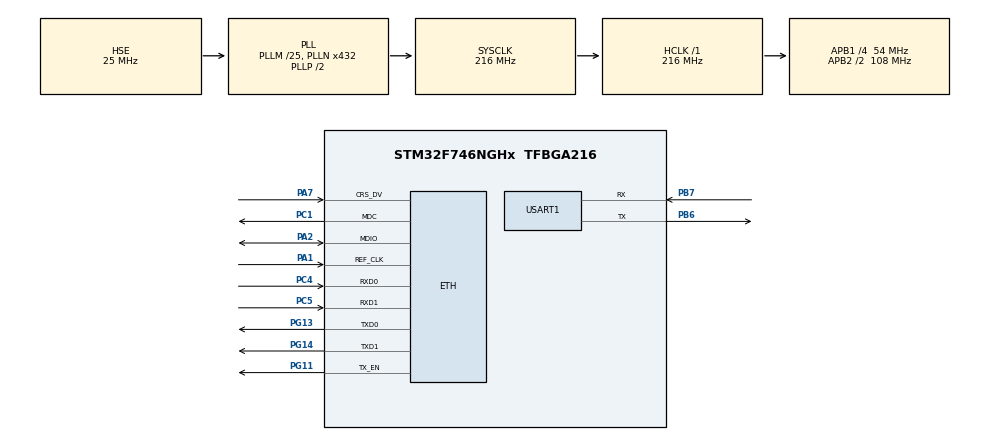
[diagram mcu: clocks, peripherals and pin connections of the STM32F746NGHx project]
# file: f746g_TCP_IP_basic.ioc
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CORTEX_M7.default_mode_Activation=1
ETH.MediaInterface=HAL_ETH_RMII_MODE
LWIP.BSP.number=1
LWIP.GATEWAY_ADDRESS=192.168.001.001
LWIP.IP_ADDRESS=192.168.001.100
LWIP.LWIP_DHCP=0
LWIP.NETMASK_ADDRESS=255.255.255.000
LWIP.TCP_LISTEN_BACKLOG=1
LWIP.TCP_MSS=1460
LWIP.TCP_WND=2920
LWIP.Version=v2.1.2_Cube
LWIP0.BSP.STBoard=false
LWIP0.BSP.api=BSP_COMPONENT_DRIVER
LWIP0.BSP.component=LAN8742
LWIP0.BSP.instance=LAN8742
LWIP0.BSP.name=Driver_PHY
LWIP0.BSP.semaphore=S_LAN8742
LWIP0.BSP.solution=LAN8742
Mcu.Family=STM32F7
Mcu.Name=STM32F746NGHx
Mcu.Package=TFBGA216
NVIC.PriorityGroup=NVIC_PRIORITYGROUP_4
PA0/WKUP.Mode=SYS_WakeUp0
PA0/WKUP.Signal=SYS_WKUP1
PA1.Mode=RMII
PA1.Signal=ETH_REF_CLK
PA13.Mode=Serial_Wire
PA13.Signal=SYS_JTMS-SWDIO
PA14.Mode=Serial_Wire
PA14.Signal=SYS_JTCK-SWCLK
PA2.Mode=RMII
PA2.Signal=ETH_MDIO
PA7.Mode=RMII
PA7.Signal=ETH_CRS_DV
PB6.Mode=Asynchronous
PB6.Signal=USART1_TX
PB7.Mode=Asynchronous
PB7.Signal=USART1_RX
PC1.Mode=RMII
PC1.Signal=ETH_MDC
PC4.Mode=RMII
PC4.Signal=ETH_RXD0
PC5.Mode=RMII
PC5.Signal=ETH_RXD1
PG11.Mode=RMII
PG11.Signal=ETH_TX_EN
PG13.Mode=RMII
PG13.Signal=ETH_TXD0
PG14.Mode=RMII
PG14.Signal=ETH_TXD1
PH0/OSC_IN.Mode=HSE-External-Oscillator
PH0/OSC_IN.Signal=RCC_OSC_IN
PH1/OSC_OUT.Mode=HSE-External-Oscillator
PH1/OSC_OUT.Signal=RCC_OSC_OUT
ProjectManager.HeapSize=0x200
ProjectManager.StackSize=0x400
ProjectManager.TargetToolchain=STM32CubeIDE
RCC.AHBFreq_Value=216000000
RCC.APB1CLKDivider=RCC_HCLK_DIV4
RCC.APB1Freq_Value=54000000
RCC.APB1TimFreq_Value=108000000
RCC.APB2CLKDivider=RCC_HCLK_DIV2
RCC.APB2Freq_Value=108000000
RCC.APB2TimFreq_Value=216000000
RCC.CortexFreq_Value=216000000
RCC.HCLKFreq_Value=216000000
RCC.HSE_VALUE=25000000
RCC.HSI_VALUE=16000000
RCC.LSE_VALUE=32768
RCC.PLLM=25
RCC.PLLN=432
RCC.PLLSourceVirtual=RCC_PLLSOURCE_HSE
RCC.SYSCLKFreq_VALUE=216000000
RCC.SYSCLKSource=RCC_SYSCLKSOURCE_PLLCLK
RCC.USBFreq_Value=216000000
RCC.VCOOutputFreq_Value=432000000
USART1.VirtualMode-Asynchronous=VM_ASYNC
VP_LWIP_VS_Enabled.Mode=Enabled
board=custom

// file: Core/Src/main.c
/* USER CODE BEGIN Header */
/**
  ******************************************************************************
  * @file           : main.c
  * @brief          : Main program body
  ******************************************************************************
  * @attention
  *
  * Copyright (c) 2025 STMicroelectronics.
  * All rights reserved.
  *
  * This software is licensed under terms that can be found in the LICENSE file
  * in the root directory of this software component.
  * If no LICENSE file comes with this software, it is provided AS-IS.
  *
  ******************************************************************************
  */
/* USER CODE END Header */
#include "main.h"
#include "lwip.h"
#include "usart.h"
#include "gpio.h"

/* USER CODE BEGIN Includes */
#include "app_ethernet.h"
#include "TCP_client.h"
#include "uart_debug.h"

/* USER CODE END Includes */

void SystemClock_Config(void);
static void MPU_Config(void);

int main(void){

  /* MPU Configuration--------------------------------------------------------*/
  MPU_Config();

  /* MCU Configuration--------------------------------------------------------*/

  /* Reset of all peripherals, Initializes the Flash interface and the Systick. */
  HAL_Init();

  /* Configure the system clock */
  SystemClock_Config();

  /* Initialize all configured peripherals */
  MX_GPIO_Init();
  MX_USART1_UART_Init();
  MX_LWIP_Init();
  /* USER CODE BEGIN 2 */
  uart_debug_init();      // Initialize debug UART
  app_ethernet_init();    // Initialize Ethernet app
  tcp_client_init();      // Initialize TCP client
  /* Process until connected */
  while (tcp_client_get_state() != TCP_STATE_CONNECTED) {
      MX_LWIP_Process();
      app_ethernet_process();
      tcp_client_process();
      HAL_Delay(10);
  }

  /* Connected */
  const char *welcome_msg = "Sending data using TCP ... \r\n";
  tcp_client_send(welcome_msg, strlen(welcome_msg));
  uint32_t counter = 0;
  uint32_t last_send_time = 0;
  /* USER CODE END 2 */

  /* Infinite loop */
  /* USER CODE BEGIN WHILE */
  while (1){
	  MX_LWIP_Process();
	  app_ethernet_process();
	  tcp_client_process();

	  /* Send counter every 1 second */
	  if (HAL_GetTick() - last_send_time >= 1000) {
		  last_send_time = HAL_GetTick();

		  /* Check if still connected */
		  if (tcp_client_get_state() == TCP_STATE_CONNECTED) {
			  counter++;
			  char msg[50];
			  snprintf(msg, sizeof(msg), "counter:%lu\r\n", counter);
			  tcp_client_send(msg, strlen(msg));
		  }
	  }
  }
  /* USER CODE END 3 */
}

void SystemClock_Config(void)
{
  RCC_OscInitTypeDef RCC_OscInitStruct = {0};
  RCC_ClkInitTypeDef RCC_ClkInitStruct = {0};

  /** Configure the main internal regulator output voltage
  */
  __HAL_RCC_PWR_CLK_ENABLE();
  __HAL_PWR_VOLTAGESCALING_CONFIG(PWR_REGULATOR_VOLTAGE_SCALE1);

  /** Initializes the RCC Oscillators according to the specified parameters
  * in the RCC_OscInitTypeDef structure.
  */
  RCC_OscInitStruct.OscillatorType = RCC_OSCILLATORTYPE_HSE;
  RCC_OscInitStruct.HSEState = RCC_HSE_ON;
  RCC_OscInitStruct.PLL.PLLState = RCC_PLL_ON;
  RCC_OscInitStruct.PLL.PLLSource = RCC_PLLSOURCE_HSE;
  RCC_OscInitStruct.PLL.PLLM = 25;
  RCC_OscInitStruct.PLL.PLLN = 432;
  RCC_OscInitStruct.PLL.PLLP = RCC_PLLP_DIV2;
  RCC_OscInitStruct.PLL.PLLQ = 2;
  if (HAL_RCC_OscConfig(&RCC_OscInitStruct) != HAL_OK)
  {
    Error_Handler();
  }

  /** Activate the Over-Drive mode
  */
  if (HAL_PWREx_EnableOverDrive() != HAL_OK)
  {
    Error_Handler();
  }

  /** Initializes the CPU, AHB and APB buses clocks
  */
  RCC_ClkInitStruct.ClockType = RCC_CLOCKTYPE_HCLK|RCC_CLOCKTYPE_SYSCLK
                              |RCC_CLOCKTYPE_PCLK1|RCC_CLOCKTYPE_PCLK2;
  RCC_ClkInitStruct.SYSCLKSource = RCC_SYSCLKSOURCE_PLLCLK;
  RCC_ClkInitStruct.AHBCLKDivider = RCC_SYSCLK_DIV1;
  RCC_ClkInitStruct.APB1CLKDivider = RCC_HCLK_DIV4;
  RCC_ClkInitStruct.APB2CLKDivider = RCC_HCLK_DIV2;

  if (HAL_RCC_ClockConfig(&RCC_ClkInitStruct, FLASH_LATENCY_7) != HAL_OK)
  {
    Error_Handler();
  }
}

 /* MPU Configuration */

void MPU_Config(void)
{
  MPU_Region_InitTypeDef MPU_InitStruct = {0};

  /* Disables the MPU */
  HAL_MPU_Disable();

  /** Initializes and configures the Region and the memory to be protected
  */
  MPU_InitStruct.Enable = MPU_REGION_ENABLE;
  MPU_InitStruct.Number = MPU_REGION_NUMBER0;
  MPU_InitStruct.BaseAddress = 0x0;
  MPU_InitStruct.Size = MPU_REGION_SIZE_4GB;
  MPU_InitStruct.SubRegionDisable = 0x87;
  MPU_InitStruct.TypeExtField = MPU_TEX_LEVEL0;
  MPU_InitStruct.AccessPermission = MPU_REGION_NO_ACCESS;
  MPU_InitStruct.DisableExec = MPU_INSTRUCTION_ACCESS_DISABLE;
  MPU_InitStruct.IsShareable = MPU_ACCESS_SHAREABLE;
  MPU_InitStruct.IsCacheable = MPU_ACCESS_NOT_CACHEABLE;
  MPU_InitStruct.IsBufferable = MPU_ACCESS_NOT_BUFFERABLE;

  HAL_MPU_ConfigRegion(&MPU_InitStruct);
  /* Enables the MPU */
  HAL_MPU_Enable(MPU_PRIVILEGED_DEFAULT);

}

void Error_Handler(void)
{
  __disable_irq();
  while (1)
  {
  }
}
